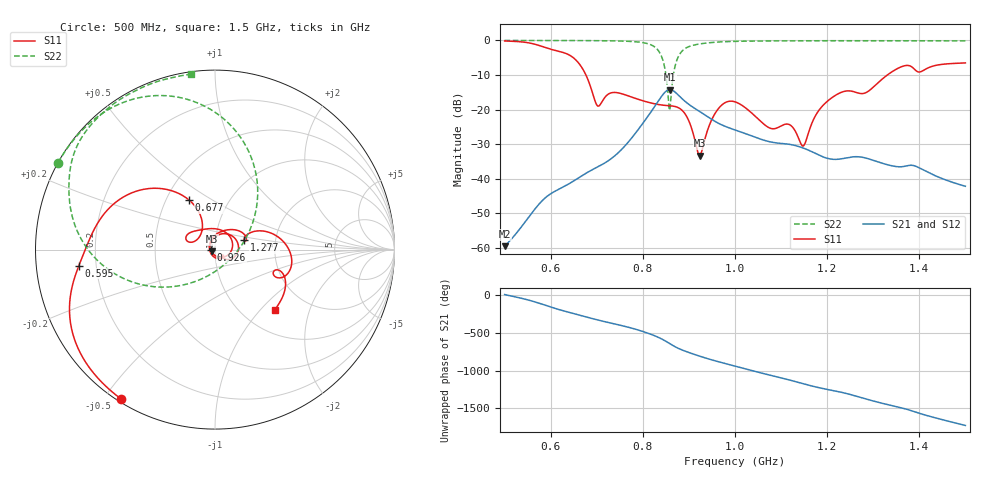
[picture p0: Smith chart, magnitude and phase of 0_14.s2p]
! TOUCHSTONE file generated by CST MICROWAVE STUDIO
! Date and time: Sat Oct 24 11:12:50 2020
! Project name: Scenario_1_Circular_Tissue_in_Line.cst
! Parameters = {L_HA=400; MT=2.54; Rad_Dielectric=30; Rad_Lower=7.3; Rad_Upper=30; a_HA=580; a_WG=246; b_HA=500; b_WG=121; c_HA=0; c_WG=187; d_feed=85; dx1=398.16; h_feed=15; h_lower=18; h_upper=40}
! Header version: 2018
! Port assignment regex: !\s*Touchstone port\s*([0-9]+)\s*=\s*(CST MWS port|CST DS port)\s*([0-9]+|Zmin|Zmax)\s*\(\"(.*)\"\)(\s*mode\s*([0-9]+))?.*
! Touchstone port assignment:
! Touchstone port 1 = CST MWS port 1 ("")
! Touchstone port 2 = CST MWS port 2 ("")
# GHz S DB R 50
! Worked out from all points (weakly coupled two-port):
!   1003 points, 500 MHz to 1.5 GHz, reference 50 ohm
!   highest |S21| = -14.24 dB at 859 MHz (marker M1); lowest = -59.6 dB at 500 MHz (marker M2)
!   lowest |S11| = -33.4 dB at 923 MHz (marker M3), VSWR 1.04, Z = 48.1 - j0.925 ohm
!   |S11| at or under -10 dB: 676.4 MHz to 1.331 GHz (654.3 MHz wide, 65.2 % of centre)
!   |S22| runs from -20.3 to 0.0 dB; largest |S21 - S12| = 3.5e-06
!   S11 on the Smith chart (normalised r, x): 500 MHz: 0.01, -0.55; 595 MHz: 0.13, -0.06; 677 MHz: 0.65, +0.40; 926 MHz: 0.96, -0.00; 1.277 GHz: 1.38, +0.15; 1.5 GHz: 1.40, -1.21
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0.5  -0.15 -122.2  -59.57 4.0  -59.57 4.0  -0.01 151.1
0.595  -2.34 -173.3  -44.86 -150.8  -44.86 -150.8  -0.02 144.5
0.667  -7.72 126.7  -39.23 84.9  -39.23 84.9  -0.04 138.4
0.677  -10.16 117.5  -38.42 68.4  -38.42 68.4  -0.05 137.4
0.703  -19.02 142.4  -36.56 26.7  -36.56 26.7  -0.07 134.5
0.788  -16.96 130.7  -26.16 -100.8  -26.16 -100.8  -0.43 117.9
0.834  -18.56 97.3  -17.47 157.7  -17.47 157.7  -3.00 83.8
0.848  -18.81 80.5  -15.00 113.5  -15.00 113.5  -8.26 52.0
0.859  -18.92 63.7  -14.24 72.9  -14.24 72.9  -19.63 -71.7
0.884  -20.10 9.6  -16.73 -5.2  -16.73 -5.2  -3.26 -177.8
0.923  -33.35 -153.4  -20.56 -89.1  -20.56 -89.1  -1.02 156.3
0.926  -32.86 -179.8  -20.82 -95.1  -20.82 -95.1  -0.96 155.3
0.96  -20.46 67.3  -23.70 -156.7  -23.70 -156.7  -0.49 146.9
1  -17.78 -2.8  -25.91 138.4  -25.91 138.4  -0.27 140.3
1.075  -25.35 -40.3  -29.33 21.6  -29.33 21.6  -0.15 132.0
1.12  -24.52 -57.7  -30.12 -47.6  -30.12 -47.6  -0.12 128.0
1.147  -30.57 -159.4  -31.11 -92.6  -31.11 -92.6  -0.10 125.8
1.167  -23.93 104.8  -32.23 -124.4  -32.23 -124.4  -0.09 124.2
1.219  -15.81 42.0  -34.44 168.3  -34.44 168.3  -0.08 120.1
1.277  -15.39 18.0  -33.85 76.9  -33.85 76.9  -0.09 115.8
1.334  -9.68 16.0  -36.10 -14.0  -36.10 -14.0  -0.08 111.5
1.5  -6.51 -44.9  -42.22 74.9  -42.23 74.9  -0.13 97.9
